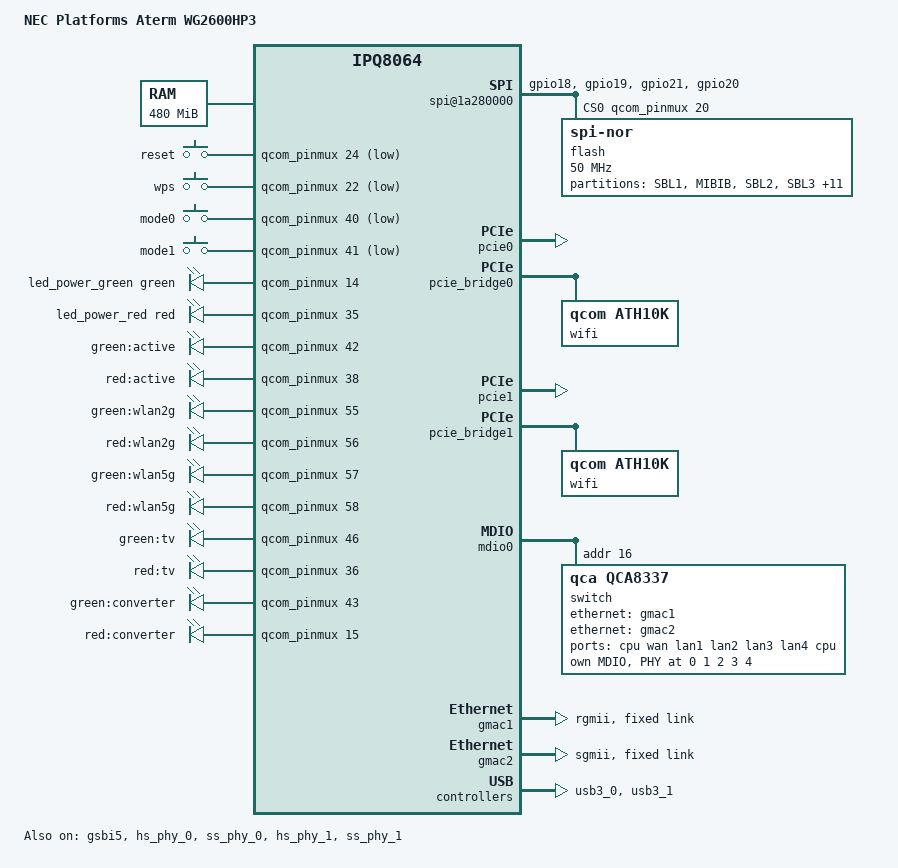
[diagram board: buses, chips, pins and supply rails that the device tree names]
// SPDX-License-Identifier: GPL-2.0-or-later OR MIT

#include "qcom-ipq8062-smb208.dtsi"
#include <dt-bindings/input/input.h>
#include <dt-bindings/leds/common.h>

/ {
	model = "NEC Platforms Aterm WG2600HP3";
	compatible = "nec,wg2600hp3", "qcom,ipq8062", "qcom,ipq8064";

	memory {
		device_type = "memory";
		reg =  <0x42000000 0x1e000000>;
	};

	aliases {
		label-mac-device = &gmac2;

		led-boot = &led_power_green;
		led-failsafe = &led_power_red;
		led-running = &led_power_green;
		led-upgrade = &led_power_red;
	};

	keys {
		compatible = "gpio-keys";

		pinctrl-0 = <&button_pins>;
		pinctrl-names = "default";

		reset {
			label = "reset";
			gpios = <&qcom_pinmux 24 GPIO_ACTIVE_LOW>;
			linux,code = <KEY_RESTART>;
			debounce-interval = <60>;
			wakeup-source;
		};

		wps {
			label = "wps";
			gpios = <&qcom_pinmux 22 GPIO_ACTIVE_LOW>;
			linux,code = <KEY_WPS_BUTTON>;
			debounce-interval = <60>;
			wakeup-source;
		};

		mode0 {
			label = "mode0";
			gpios = <&qcom_pinmux 40 GPIO_ACTIVE_LOW>;
			linux,code = <BTN_0>;
			linux,input-type = <EV_SW>;
			debounce-interval = <60>;
			wakeup-source;
		};

		mode1 {
			label = "mode1";
			gpios = <&qcom_pinmux 41 GPIO_ACTIVE_LOW>;
			linux,code = <BTN_1>;
			linux,input-type = <EV_SW>;
			debounce-interval = <60>;
			wakeup-source;
		};
	};

	leds {
		compatible = "gpio-leds";

		pinctrl-0 = <&led_pins>;
		pinctrl-names = "default";

		led_power_green: power_green {
			function = LED_FUNCTION_POWER;
			color = <LED_COLOR_ID_GREEN>;
			gpios = <&qcom_pinmux 14 GPIO_ACTIVE_HIGH>;
		};

		led_power_red: power_red {
			function = LED_FUNCTION_POWER;
			color = <LED_COLOR_ID_RED>;
			gpios = <&qcom_pinmux 35 GPIO_ACTIVE_HIGH>;
		};

		active_green {
			label = "green:active";
			gpios = <&qcom_pinmux 42 GPIO_ACTIVE_HIGH>;
		};

		active_red {
			label = "red:active";
			gpios = <&qcom_pinmux 38 GPIO_ACTIVE_HIGH>;
		};

		wlan2g_green {
			label = "green:wlan2g";
			gpios = <&qcom_pinmux 55 GPIO_ACTIVE_HIGH>;
			linux,default-trigger = "phy1tpt";
		};

		wlan2g_red {
			label = "red:wlan2g";
			gpios = <&qcom_pinmux 56 GPIO_ACTIVE_HIGH>;
		};

		wlan5g_green {
			label = "green:wlan5g";
			gpios = <&qcom_pinmux 57 GPIO_ACTIVE_HIGH>;
			linux,default-trigger = "phy0tpt";
		};

		wlan5g_red {
			label = "red:wlan5g";
			gpios = <&qcom_pinmux 58 GPIO_ACTIVE_HIGH>;
		};

		tv_green {
			label = "green:tv";
			gpios = <&qcom_pinmux 46 GPIO_ACTIVE_HIGH>;
		};

		tv_red {
			label = "red:tv";
			gpios = <&qcom_pinmux 36 GPIO_ACTIVE_HIGH>;
		};

		converter_green {
			label = "green:converter";
			gpios = <&qcom_pinmux 43 GPIO_ACTIVE_HIGH>;
		};

		converter_red {
			label = "red:converter";
			gpios = <&qcom_pinmux 15 GPIO_ACTIVE_HIGH>;
		};
	};
};

/* nand_pins are used for led_pins, empty the node
 * from ipq8064.dtsi
 */
&nand_pins {
	/delete-property/ disable;
	/delete-property/ pullups;
	/delete-property/ hold;
};

&qcom_pinmux {
	pinctrl-0 = <&akro_pins>;
	pinctrl-names = "default";

	spi_pins: spi-state {
		/delete-property/ pins;
		/delete-property/ function;
		/delete-property/ drive-strength;
		/delete-property/ bias-disable;

		mux {
			pins = "gpio18", "gpio19", "gpio21";
			function = "gsbi5";
			bias-pull-down;
		};

		data {
			pins = "gpio18", "gpio19";
			drive-strength = <10>;
		};

		cs {
			pins = "gpio20";
			drive-strength = <10>;
		};

		clk {
			pins = "gpio21";
			drive-strength = <12>;
		};
	};

	button_pins: button_pins {
		mux {
			pins = "gpio22", "gpio24", "gpio40",
				"gpio41";
			function = "gpio";
			drive-strength = <2>;
			bias-pull-up;
		};
	};

	led_pins: led_pins {
		mux {
			pins = "gpio14", "gpio15", "gpio35",
				"gpio36", "gpio38", "gpio42",
				"gpio43", "gpio46", "gpio55",
				"gpio56", "gpio57", "gpio58";
			function = "gpio";
			bias-pull-down;
		};

		akro2 {
			pins = "gpio15", "gpio35", "gpio38",
				"gpio42", "gpio43", "gpio46",
				"gpio55", "gpio56", "gpio57",
				"gpio58";
			drive-strength = <2>;
		};

		akro4 {
			pins = "gpio14", "gpio36";
			drive-strength = <4>;
		};
	};

	/*
	 * Stock firmware has the following settings, so let's do the same.
	 * I don't sure why these are required.
	 */
	akro_pins: akro_pinmux {
		akro {
			pins = "gpio17", "gpio26", "gpio47";
			function = "gpio";
			drive-strength = <2>;
			bias-pull-down;
		};

		reset {
			pins = "gpio45";
			function = "gpio";
			drive-strength = <2>;
			bias-disable;
			output-low;
		};

		gmac0_rgmii {
			pins = "gpio25";
			function = "gpio";
			drive-strength = <8>;
			bias-disable;
		};
	};
};

&gsbi5 {
	status = "okay";
	qcom,mode = <GSBI_PROT_SPI>;

	spi@1a280000 {
		status = "okay";

		pinctrl-0 = <&spi_pins>;
		pinctrl-names = "default";

		cs-gpios = <&qcom_pinmux 20 GPIO_ACTIVE_HIGH>;

		flash@0 {
			compatible = "jedec,spi-nor";
			reg = <0>;
			spi-max-frequency = <50000000>;
			m25p,fast-read;

			partitions {
				compatible = "fixed-partitions";
				#address-cells = <1>;
				#size-cells = <1>;

				partition@0 {
					label = "SBL1";
					reg = <0x0000000 0x0020000>;
					read-only;
				};

				partition@20000 {
					label = "MIBIB";
					reg = <0x0020000 0x0020000>;
					read-only;
				};

				partition@40000 {
					label = "SBL2";
					reg = <0x0040000 0x0040000>;
					read-only;
				};

				partition@80000 {
					label = "SBL3";
					reg = <0x0080000 0x0080000>;
					read-only;
				};

				partition@100000 {
					label = "DDRCONFIG";
					reg = <0x0100000 0x0010000>;
					read-only;
				};

				partition@110000 {
					label = "SSD";
					reg = <0x0110000 0x0010000>;
					read-only;
				};

				partition@120000 {
					label = "TZ";
					reg = <0x0120000 0x0080000>;
					read-only;
				};

				partition@1a0000 {
					label = "RPM";
					reg = <0x01a0000 0x0080000>;
					read-only;
				};

				partition@220000 {
					label = "APPSBL";
					reg = <0x0220000 0x0080000>;
					read-only;
				};

				partition@2a0000 {
					label = "APPSBLENV";
					reg = <0x02a0000 0x0010000>;
					read-only;
				};

				factory: partition@2b0000 {
					label = "PRODUCTDATA";
					reg = <0x02b0000 0x0030000>;
					read-only;

					nvmem-layout {
						compatible = "fixed-layout";
						#address-cells = <1>;
						#size-cells = <1>;

						macaddr_factory_0: macaddr@0 {
							reg = <0x0 0x6>;
						};

						macaddr_factory_6: macaddr@6 {
							reg = <0x6 0x6>;
						};

						macaddr_PRODUCTDATA_c: macaddr@c {
							reg = <0xc 0x6>;
						};

						macaddr_PRODUCTDATA_12: macaddr@12 {
							reg = <0x12 0x6>;
						};
					};
				};

				partition@2e0000 {
					label = "ART";
					reg = <0x02e0000 0x0040000>;
					read-only;

					nvmem-layout {
						compatible = "fixed-layout";
						#address-cells = <1>;
						#size-cells = <1>;

						precal_ART_1000: precal@1000 {
							reg = <0x1000 0x2f20>;
						};

						precal_ART_5000: precal@5000 {
							reg = <0x5000 0x2f20>;
						};
					};
				};

				partition@320000 {
					label = "TP";
					reg = <0x0320000 0x0040000>;
					read-only;
				};

				partition@360000 {
					label = "TINY";
					reg = <0x0360000 0x0500000>;
					read-only;
				};

				partition@860000 {
					compatible = "denx,uimage";
					label = "firmware";
					reg = <0x0860000 0x17a0000>;
				};
			};
		};
	};
};

&adm_dma {
	status = "okay";
};

&pcie0 {
	status = "okay";
};

&pcie_bridge0 {
	wifi@1,0 {
		compatible = "qcom,ath10k";
		reg = <0x00010000 0 0 0 0>;
		nvmem-cells = <&macaddr_PRODUCTDATA_12>, <&precal_ART_1000>;
		nvmem-cell-names = "mac-address", "pre-calibration";
		qcom,ath10k-calibration-variant = "NEC-Platforms-WG2600HP3";
	};
};

&pcie1 {
	status = "okay";
	force_gen1 = <1>;
};

&pcie_bridge1 {
	wifi@1,0 {
		compatible = "qcom,ath10k";
		reg = <0x00010000 0 0 0 0>;
		ieee80211-freq-limit = <2400000 2483000>;
		nvmem-cells = <&macaddr_PRODUCTDATA_c>, <&precal_ART_5000>;
		nvmem-cell-names = "mac-address", "pre-calibration";
		qcom,ath10k-calibration-variant = "NEC-Platforms-WG2600HP3";
	};
};

&mdio0 {
	status = "okay";

	pinctrl-0 = <&mdio0_pins>;
	pinctrl-names = "default";

	switch@10 {
		compatible = "qca,qca8337";
		#address-cells = <1>;
		#size-cells = <0>;
		reg = <0x10>;

		ports {
			#address-cells = <1>;
			#size-cells = <0>;

			port@0 {
				reg = <0>;
				label = "cpu";
				ethernet = <&gmac1>;
				phy-mode = "rgmii";
				tx-internal-delay-ps = <1000>;

				fixed-link {
					speed = <1000>;
					full-duplex;
				};
			};

			port@1 {
				reg = <1>;
				label = "wan";
				phy-mode = "internal";
				phy-handle = <&phy_port1>;

				leds {
					#address-cells = <1>;
					#size-cells = <0>;

					led@0 {
						reg = <0>;
						color = <LED_COLOR_ID_GREEN>;
						function = LED_FUNCTION_WAN;
						function-enumerator = <1>;
						default-state = "keep";
					};

					led@1 {
						reg = <1>;
						color = <LED_COLOR_ID_GREEN>;
						function = LED_FUNCTION_WAN;
						function-enumerator = <2>;
						default-state = "keep";
					};

					led@2 {
						reg = <2>;
						color = <LED_COLOR_ID_GREEN>;
						function = LED_FUNCTION_WAN;
						function-enumerator = <3>;
						default-state = "keep";
					};
				};
			};

			port@2 {
				reg = <2>;
				label = "lan1";
				phy-mode = "internal";
				phy-handle = <&phy_port2>;

				leds {
					#address-cells = <1>;
					#size-cells = <0>;

					led@0 {
						reg = <0>;
						color = <LED_COLOR_ID_GREEN>;
						function = LED_FUNCTION_LAN;
						function-enumerator = <1>;
						default-state = "keep";
					};

					led@1 {
						reg = <1>;
						color = <LED_COLOR_ID_GREEN>;
						function = LED_FUNCTION_LAN;
						function-enumerator = <2>;
						default-state = "keep";
					};

					led@2 {
						reg = <2>;
						color = <LED_COLOR_ID_GREEN>;
						function = LED_FUNCTION_LAN;
						function-enumerator = <3>;
						default-state = "keep";
					};
				};
			};

			port@3 {
				reg = <3>;
				label = "lan2";
				phy-mode = "internal";
				phy-handle = <&phy_port3>;

				leds {
					#address-cells = <1>;
					#size-cells = <0>;

					led@0 {
						reg = <0>;
						color = <LED_COLOR_ID_GREEN>;
						function = LED_FUNCTION_LAN;
						function-enumerator = <1>;
						default-state = "keep";
					};

					led@1 {
						reg = <1>;
						color = <LED_COLOR_ID_GREEN>;
						function = LED_FUNCTION_LAN;
						function-enumerator = <2>;
						default-state = "keep";
					};

					led@2 {
						reg = <2>;
						color = <LED_COLOR_ID_GREEN>;
						function = LED_FUNCTION_LAN;
						function-enumerator = <3>;
						default-state = "keep";
					};
				};
			};

			port@4 {
				reg = <4>;
				label = "lan3";
				phy-mode = "internal";
				phy-handle = <&phy_port4>;

				leds {
					#address-cells = <1>;
					#size-cells = <0>;

					led@0 {
						reg = <0>;
						color = <LED_COLOR_ID_GREEN>;
						function = LED_FUNCTION_LAN;
						function-enumerator = <1>;
						default-state = "keep";
					};

					led@1 {
						reg = <1>;
						color = <LED_COLOR_ID_GREEN>;
						function = LED_FUNCTION_LAN;
						function-enumerator = <2>;
						default-state = "keep";
					};

					led@2 {
						reg = <2>;
						color = <LED_COLOR_ID_GREEN>;
						function = LED_FUNCTION_LAN;
						function-enumerator = <3>;
						default-state = "keep";
					};
				};
			};

			port@5 {
				reg = <5>;
				label = "lan4";
				phy-mode = "internal";
				phy-handle = <&phy_port5>;

				leds {
					#address-cells = <1>;
					#size-cells = <0>;

					led@0 {
						reg = <0>;
						color = <LED_COLOR_ID_GREEN>;
						function = LED_FUNCTION_LAN;
						function-enumerator = <1>;
						default-state = "keep";
					};

					led@1 {
						reg = <1>;
						color = <LED_COLOR_ID_GREEN>;
						function = LED_FUNCTION_LAN;
						function-enumerator = <2>;
						default-state = "keep";
					};

					led@2 {
						reg = <2>;
						color = <LED_COLOR_ID_GREEN>;
						function = LED_FUNCTION_LAN;
						function-enumerator = <3>;
						default-state = "keep";
					};
				};
			};

			port@6 {
				reg = <6>;
				label = "cpu";
				ethernet = <&gmac2>;
				phy-mode = "sgmii";
				qca,sgmii-enable-pll;
				qca,sgmii-rxclk-falling-edge;

				fixed-link {
					speed = <1000>;
					full-duplex;
				};
			};
		};

		mdio {
			#address-cells = <1>;
			#size-cells = <0>;

			phy_port1: phy@0 {
				reg = <0>;
			};

			phy_port2: phy@1 {
				reg = <1>;
			};

			phy_port3: phy@2 {
				reg = <2>;
			};

			phy_port4: phy@3 {
				reg = <3>;
			};

			phy_port5: phy@4 {
				reg = <4>;
			};
		};
	};
};

&gmac1 {
	status = "okay";

	pinctrl-0 = <&rgmii2_pins>;
	pinctrl-names = "default";

	phy-mode = "rgmii";
	qcom,id = <1>;
	mdiobus = <&mdio0>;
	nvmem-cells = <&macaddr_factory_0>;
	nvmem-cell-names = "mac-address";

	fixed-link {
		speed = <1000>;
		full-duplex;
	};
};

&gmac2 {
	status = "okay";
	phy-mode = "sgmii";
	qcom,id = <2>;
	mdiobus = <&mdio0>;
	nvmem-cells = <&macaddr_factory_6>;
	nvmem-cell-names = "mac-address";

	fixed-link {
		speed = <1000>;
		full-duplex;
	};
};

&hs_phy_0 {
	status = "okay";
};

&ss_phy_0 {
	status = "okay";
};

&usb3_0 {
	status = "okay";
};

&hs_phy_1 {
	status = "okay";
};

&ss_phy_1 {
	status = "okay";
};

&usb3_1 {
	status = "okay";
};
